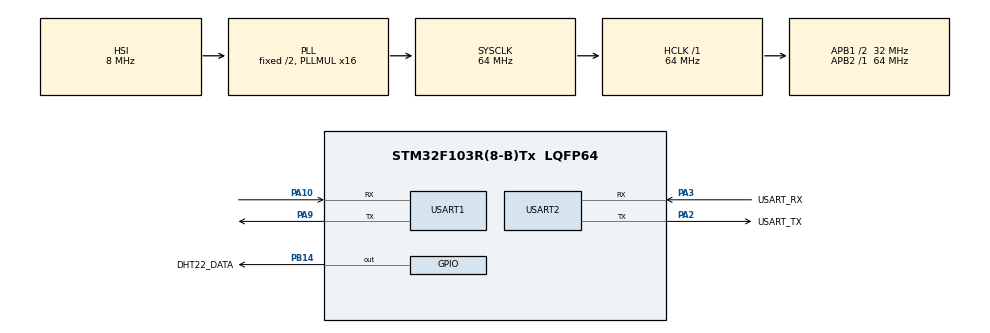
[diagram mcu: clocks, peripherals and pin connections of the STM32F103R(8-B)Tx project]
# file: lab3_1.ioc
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Mcu.Family=STM32F1
Mcu.Name=STM32F103R(8-B)Tx
Mcu.Package=LQFP64
NVIC.PriorityGroup=NVIC_PRIORITYGROUP_4
NVIC.USART2_IRQn=true\:0\:0\:false\:false\:true\:true\:true\:true
PA10.GPIO_PuPd=GPIO_PULLUP
PA10.Mode=Asynchronous
PA10.Signal=USART1_RX
PA13.GPIO_Label=TMS
PA13.Mode=Serial_Wire
PA13.Signal=SYS_JTMS-SWDIO
PA14.GPIO_Label=TCK
PA14.Mode=Serial_Wire
PA14.Signal=SYS_JTCK-SWCLK
PA2.GPIO_Label=USART_TX
PA2.GPIO_Mode=GPIO_MODE_AF_PP
PA2.GPIO_PuPd=GPIO_NOPULL
PA2.GPIO_Speed=GPIO_SPEED_FREQ_LOW
PA2.Mode=Asynchronous
PA2.Signal=USART2_TX
PA3.GPIO_Label=USART_RX
PA3.GPIO_Mode=GPIO_MODE_AF_PP
PA3.GPIO_PuPd=GPIO_NOPULL
PA3.GPIO_Speed=GPIO_SPEED_FREQ_LOW
PA3.Mode=Asynchronous
PA3.Signal=USART2_RX
PA9.Mode=Asynchronous
PA9.Signal=USART1_TX
PB14.GPIO_Label=DHT22_DATA
PB14.GPIO_ModeDefaultOutputPP=GPIO_MODE_OUTPUT_OD
PB14.GPIO_PuPd=GPIO_NOPULL
PB14.Signal=GPIO_Output
PB3.GPIO_Label=SWO
PB3.Signal=SYS_JTDO-TRACESWO
PC14-OSC32_IN.Mode=LSE-External-Oscillator
PC14-OSC32_IN.Signal=RCC_OSC32_IN
PC15-OSC32_OUT.Mode=LSE-External-Oscillator
PC15-OSC32_OUT.Signal=RCC_OSC32_OUT
PD0-OSC_IN.Mode=HSE-External-Clock-Source
PD0-OSC_IN.Signal=RCC_OSC_IN
PD1-OSC_OUT.Mode=HSE-External-Clock-Source
PD1-OSC_OUT.Signal=RCC_OSC_OUT
ProjectManager.HeapSize=0x200
ProjectManager.StackSize=0x400
ProjectManager.TargetToolchain=MDK-ARM V5.32
RCC.AHBFreq_Value=64000000
RCC.APB1CLKDivider=RCC_HCLK_DIV2
RCC.APB1Freq_Value=32000000
RCC.APB1TimFreq_Value=64000000
RCC.APB2Freq_Value=64000000
RCC.APB2TimFreq_Value=64000000
RCC.HCLKFreq_Value=64000000
RCC.PLLMUL=RCC_PLL_MUL16
RCC.RTCClockSelection=RCC_RTCCLKSOURCE_LSE
RCC.SYSCLKFreq_VALUE=64000000
RCC.SYSCLKSource=RCC_SYSCLKSOURCE_PLLCLK
RCC.USBFreq_Value=64000000
TIM2.Prescaler=63
USART1.VirtualMode=VM_ASYNC
USART2.VirtualMode=VM_ASYNC
VP_TIM2_VS_ClockSourceINT.Mode=Internal
board=NUCLEO-F103RB

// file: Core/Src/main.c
/* USER CODE BEGIN Header */
/**
  ******************************************************************************
  * @file           : main.c
  * @brief          : Main program body
  ******************************************************************************
  * @attention
  *
  * Copyright (c) 2026 STMicroelectronics.
  * All rights reserved.
  *
  * This software is licensed under terms that can be found in the LICENSE file
  * in the root directory of this software component.
  * If no LICENSE file comes with this software, it is provided AS-IS.
  *
  ******************************************************************************
  */
/* USER CODE END Header */
#include "main.h"
#include "dht22.h"
#include "link_proto.h"
#include <string.h>

/* USER CODE BEGIN PD */
#define NODE_ADDR        LINK_ADDR_SENSOR
#define PEER_ADDR        LINK_ADDR_LOGGER
#define SEND_PERIOD_MS   2000U
/* USER CODE END PD */

TIM_HandleTypeDef htim2;

UART_HandleTypeDef huart1;
UART_HandleTypeDef huart2;

/* USER CODE BEGIN PV */
static uint16_t tx_seq = 0;
/* USER CODE END PV */

void SystemClock_Config(void);
static void MX_GPIO_Init(void);
static void MX_TIM2_Init(void);
static void MX_USART2_UART_Init(void);
static void MX_USART1_UART_Init(void);

/* USER CODE BEGIN 0 */
void Print(char *message)
{
    HAL_UART_Transmit(&huart2, (uint8_t *)message, strlen(message), HAL_MAX_DELAY);
}
/* USER CODE END 0 */

int main(void)
{

  /* MCU Configuration--------------------------------------------------------*/

  /* Reset of all peripherals, Initializes the Flash interface and the Systick. */
  HAL_Init();

  /* Configure the system clock */
  SystemClock_Config();

  /* Initialize all configured peripherals */
  MX_GPIO_Init();
  MX_TIM2_Init();
  MX_USART2_UART_Init();
  MX_USART1_UART_Init();
  /* USER CODE BEGIN 2 */
    HAL_TIM_Base_Start(&htim2);
    DHT22_Init();
    Print("Sensor node ready.\r\n");
		Print(HAL_GPIO_ReadPin(DHT22_DATA_GPIO_Port, DHT22_DATA_Pin) ? "idle=1\r\n" : "idle=0\r\n");
    DHT22_Data_t dht_data;
    uint32_t last_tx = HAL_GetTick();
  /* USER CODE END 2 */

  /* Infinite loop */
  while (1)
  {

    /* USER CODE BEGIN 3 */
		    if ((uint32_t)(HAL_GetTick() - last_tx) >= SEND_PERIOD_MS)
    {
        last_tx += SEND_PERIOD_MS;

        if (DHT22_Read(&dht_data) && dht_data.checksum_ok)
        {
            link_data_t f;
            f.dst   = PEER_ADDR;
            f.src   = NODE_ADDR;
            f.seq   = tx_seq++;
            float t = dht_data.temperature * 10.0f;
            f.temp10 = (int16_t)(t >= 0 ? t + 0.5f : t - 0.5f);
            f.hum10  = (uint16_t)(dht_data.humidity * 10.0f + 0.5f);

            char frame[LINK_LINE_MAX + 4];
            int n = link_build_data(frame, sizeof(frame), &f);
            if (n > 0)
            {
                /* RS-485: USART1 (PA9 -> DI). Only frames go to the cable */
                HAL_UART_Transmit(&huart1, (uint8_t *)frame, (uint16_t)n, 100);
                /* Same frame echoed to the PC console on USART2 (not connected to the cable) */
                HAL_UART_Transmit(&huart2, (uint8_t *)frame, (uint16_t)n, 100);
            }
        }
        else
        {
            Print("DHT22 Error\r\n");   /* console only, never on the cable */
        }
    }
    HAL_Delay(10);
  }
  /* USER CODE END 3 */
}

void SystemClock_Config(void)
{
  RCC_OscInitTypeDef RCC_OscInitStruct = {0};
  RCC_ClkInitTypeDef RCC_ClkInitStruct = {0};

  /** Initializes the RCC Oscillators according to the specified parameters
  * in the RCC_OscInitTypeDef structure.
  */
  RCC_OscInitStruct.OscillatorType = RCC_OSCILLATORTYPE_HSI;
  RCC_OscInitStruct.HSIState = RCC_HSI_ON;
  RCC_OscInitStruct.HSICalibrationValue = RCC_HSICALIBRATION_DEFAULT;
  RCC_OscInitStruct.PLL.PLLState = RCC_PLL_ON;
  RCC_OscInitStruct.PLL.PLLSource = RCC_PLLSOURCE_HSI_DIV2;
  RCC_OscInitStruct.PLL.PLLMUL = RCC_PLL_MUL16;
  if (HAL_RCC_OscConfig(&RCC_OscInitStruct) != HAL_OK)
  {
    Error_Handler();
  }

  /** Initializes the CPU, AHB and APB buses clocks
  */
  RCC_ClkInitStruct.ClockType = RCC_CLOCKTYPE_HCLK|RCC_CLOCKTYPE_SYSCLK
                              |RCC_CLOCKTYPE_PCLK1|RCC_CLOCKTYPE_PCLK2;
  RCC_ClkInitStruct.SYSCLKSource = RCC_SYSCLKSOURCE_PLLCLK;
  RCC_ClkInitStruct.AHBCLKDivider = RCC_SYSCLK_DIV1;
  RCC_ClkInitStruct.APB1CLKDivider = RCC_HCLK_DIV2;
  RCC_ClkInitStruct.APB2CLKDivider = RCC_HCLK_DIV1;

  if (HAL_RCC_ClockConfig(&RCC_ClkInitStruct, FLASH_LATENCY_2) != HAL_OK)
  {
    Error_Handler();
  }
}

static void MX_TIM2_Init(void)
{

  TIM_ClockConfigTypeDef sClockSourceConfig = {0};
  TIM_MasterConfigTypeDef sMasterConfig = {0};

  htim2.Instance = TIM2;
  htim2.Init.Prescaler = 63;
  htim2.Init.CounterMode = TIM_COUNTERMODE_UP;
  htim2.Init.Period = 65535;
  htim2.Init.ClockDivision = TIM_CLOCKDIVISION_DIV1;
  htim2.Init.AutoReloadPreload = TIM_AUTORELOAD_PRELOAD_DISABLE;
  if (HAL_TIM_Base_Init(&htim2) != HAL_OK)
  {
    Error_Handler();
  }
  sClockSourceConfig.ClockSource = TIM_CLOCKSOURCE_INTERNAL;
  if (HAL_TIM_ConfigClockSource(&htim2, &sClockSourceConfig) != HAL_OK)
  {
    Error_Handler();
  }
  sMasterConfig.MasterOutputTrigger = TIM_TRGO_RESET;
  sMasterConfig.MasterSlaveMode = TIM_MASTERSLAVEMODE_DISABLE;
  if (HAL_TIMEx_MasterConfigSynchronization(&htim2, &sMasterConfig) != HAL_OK)
  {
    Error_Handler();
  }

}

static void MX_USART1_UART_Init(void)
{

  huart1.Instance = USART1;
  huart1.Init.BaudRate = 115200;
  huart1.Init.WordLength = UART_WORDLENGTH_8B;
  huart1.Init.StopBits = UART_STOPBITS_1;
  huart1.Init.Parity = UART_PARITY_NONE;
  huart1.Init.Mode = UART_MODE_TX_RX;
  huart1.Init.HwFlowCtl = UART_HWCONTROL_NONE;
  huart1.Init.OverSampling = UART_OVERSAMPLING_16;
  if (HAL_UART_Init(&huart1) != HAL_OK)
  {
    Error_Handler();
  }

}

static void MX_USART2_UART_Init(void)
{

  huart2.Instance = USART2;
  huart2.Init.BaudRate = 115200;
  huart2.Init.WordLength = UART_WORDLENGTH_8B;
  huart2.Init.StopBits = UART_STOPBITS_1;
  huart2.Init.Parity = UART_PARITY_NONE;
  huart2.Init.Mode = UART_MODE_TX_RX;
  huart2.Init.HwFlowCtl = UART_HWCONTROL_NONE;
  huart2.Init.OverSampling = UART_OVERSAMPLING_16;
  if (HAL_UART_Init(&huart2) != HAL_OK)
  {
    Error_Handler();
  }

}

static void MX_GPIO_Init(void)
{
  GPIO_InitTypeDef GPIO_InitStruct = {0};

  /* GPIO Ports Clock Enable */
  __HAL_RCC_GPIOC_CLK_ENABLE();
  __HAL_RCC_GPIOD_CLK_ENABLE();
  __HAL_RCC_GPIOA_CLK_ENABLE();
  __HAL_RCC_GPIOB_CLK_ENABLE();

  /*Configure GPIO pin Output Level */
  HAL_GPIO_WritePin(DHT22_DATA_GPIO_Port, DHT22_DATA_Pin, GPIO_PIN_RESET);

  /*Configure GPIO pin : DHT22_DATA_Pin */
  GPIO_InitStruct.Pin = DHT22_DATA_Pin;
  GPIO_InitStruct.Mode = GPIO_MODE_OUTPUT_OD;
  GPIO_InitStruct.Pull = GPIO_NOPULL;
  GPIO_InitStruct.Speed = GPIO_SPEED_FREQ_LOW;
  HAL_GPIO_Init(DHT22_DATA_GPIO_Port, &GPIO_InitStruct);

}

void Error_Handler(void)
{
  __disable_irq();
  while (1)
  {
  }
}
